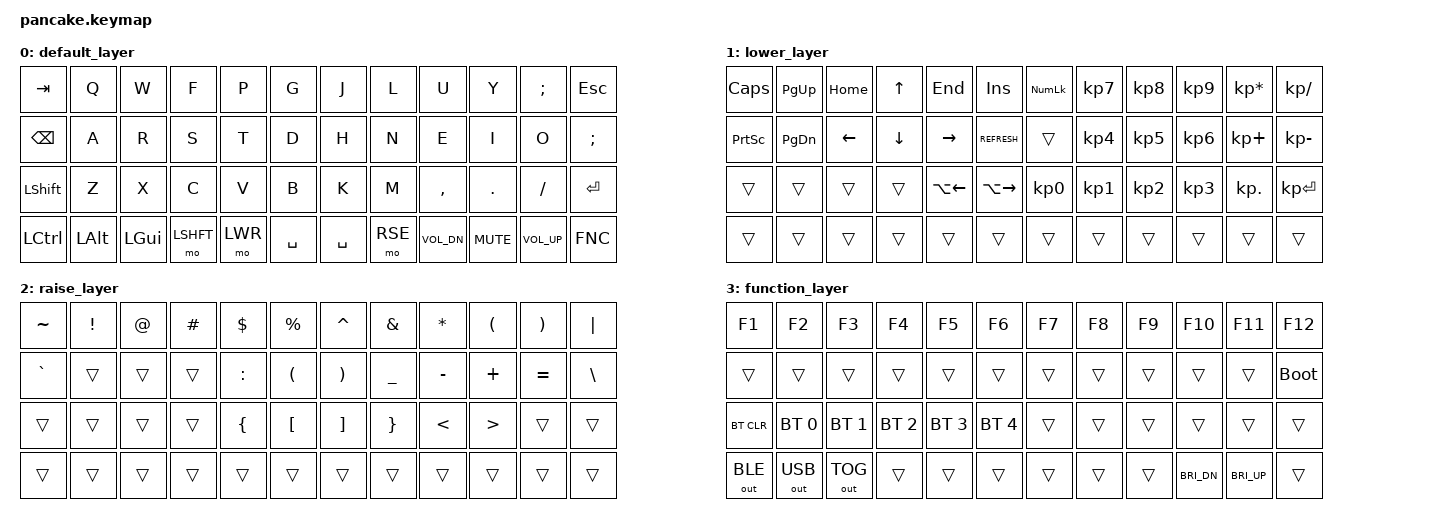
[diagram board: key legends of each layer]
 
/*
 * Copyright (c) 2022 The ZMK Contributors
 *
 * SPDX-License-Identifier: MIT
 */

#include <behaviors.dtsi>
#include <dt-bindings/zmk/keys.h>
#include <dt-bindings/zmk/bt.h>
#include <dt-bindings/zmk/outputs.h>

#define DEF 0
#define LWR 1
#define RSE 2
#define FNC 3

/ {
    keymap {
        compatible = "zmk,keymap";

        default_layer {
            bindings = <
                &kp TAB     &kp Q       &kp W       &kp F       &kp P       &kp G       &kp J       &kp L       &kp U       &kp Y     &kp SEMI    &kp ESC
                &kp BSPC    &kp A       &kp R       &kp S       &kp T       &kp D       &kp H       &kp N       &kp E       &kp I     &kp O       &kp SEMI
                &kp LSHFT   &kp Z       &kp X       &kp C       &kp V       &kp B       &kp K       &kp M       &kp COMMA   &kp DOT   &kp FSLH    &kp ENTER
                &kp LCTRL   &kp LALT    &kp LGUI    &mo LSHFT   &mo LWR     &kp SPACE   &kp SPACE   &mo RSE     &kp C_VOL_DN  &kp C_MUTE  &kp C_VOL_UP  &kp FNC
            >;
        };

        lower_layer {
            bindings = <
                &kp CAPS    &kp PG_UP   &kp HOME    &kp UP     &kp END      &kp INS        &kp KP_NUM &kp KP_N7   &kp KP_N8    &kp KP_N9  &kp KP_MULTIPLY &kp KP_SLASH
                &kp PSCRN   &kp PG_DN   &kp LEFT    &kp DOWN   &kp RIGHT    &kp K_REFRESH  &trans     &kp KP_N4   &kp KP_N5    &kp KP_N6  &kp KP_PLUS     &kp KP_MINUS
                &trans      &trans      &trans      &trans     &kp LA(LEFT) &kp LA(RIGHT)  &kp KP_N0  &kp KP_N1   &kp KP_N2    &kp KP_N3  &kp KP_DOT      &kp KP_ENTER
                &trans      &trans      &trans      &trans     &trans       &trans         &trans     &trans      &trans       &trans     &trans          &trans
            >;
        };

        raise_layer {
            bindings = <
                &kp TILDE   &kp EXCL    &kp AT      &kp HASH    &kp DLLR    &kp PRCNT   &kp CARET   &kp AMPS    &kp STAR    &kp LPAR   &kp RPAR    &kp PIPE
                &kp GRAVE   &trans      &trans      &trans      &kp COLON   &kp LPAR    &kp RPAR    &kp UNDER   &kp MINUS   &kp PLUS   &kp EQUAL   &kp BSLH
                &trans      &trans      &trans      &trans      &kp LBRC    &kp LBKT    &kp RBKT    &kp RBRC    &kp LT      &kp GT     &trans      &trans
                &trans      &trans      &trans      &trans      &trans      &trans      &trans      &trans      &trans      &trans     &trans      &trans
            >;
        };

        function_layer {
            bindings = <
                &kp F1          &kp F2          &kp F3          &kp F4          &kp F5          &kp F6          &kp F7      &kp F8      &kp F9    &kp F10      &kp F11    &kp F12
                &trans          &trans          &trans          &trans          &trans          &trans          &trans      &trans      &trans    &trans       &trans     &bootloader
                &bt BT_CLR      &bt BT_SEL 0    &bt BT_SEL 1    &bt BT_SEL 2    &bt BT_SEL 3    &bt BT_SEL 4    &trans      &trans      &trans    &trans       &trans     &trans
                &out OUT_BLE    &out OUT_USB    &out OUT_TOG    &trans          &trans          &trans          &trans      &trans      &trans    &kp C_BRI_DN  &kp C_BRI_UP &trans
            >;
        };
    };
};
